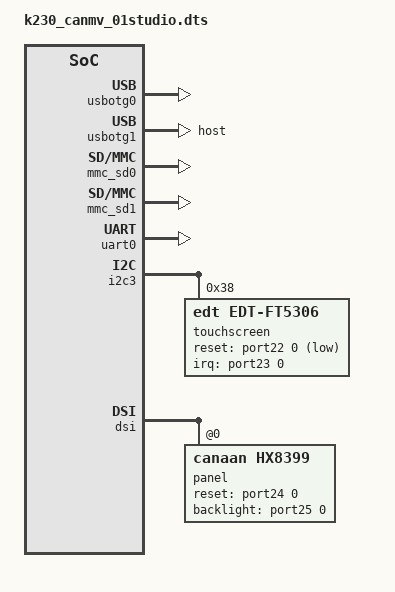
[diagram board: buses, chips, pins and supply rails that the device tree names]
/* Copyright (c) 2023, Canaan Bright Sight Co., Ltd
 *
 * This program is free software; you can redistribute it and/or modify
 * it under the terms of the GNU General Public License version 2 as
 * published by the Free Software Foundation.
*/
#include "k230.dtsi"
#include "clock_provider.dtsi"          /* k230 soc clock tree */
#include "clock_consumer.dtsi"          /* k230 soc clock consumer */
#include "reset_provider.dtsi"          /* k230 soc reset provider */
#include "reset_consumer.dtsi"          /* k230 soc reset consumer */
#include "power_provider.dtsi"          /* k230 soc power provider */
#include "power_consumer.dtsi"          /* k230 soc power consumer */
#include "gpio_provider.dtsi"           /* k230 soc gpio provider */
#include "gpio_consumer.dtsi"           /* k230 soc gpio consumer */


/ {
	aliases {
		serial0 = &uart0;
	};

	chosen {
		bootargs = "";
		linux,initrd-start = <0x0 0x32100000>;
		linux,initrd-end = <0x0 0x0>;
		stdout-path = "serial0:115200";
	};
};
&ddr {
	reg = <0x0 0x30200000 0x0 0xfe00000>;  /*linux memory config*/
};

&usbotg0 {
	status = "okay";
};

&usbotg1 {
	dr_mode = "host";
	status = "okay";
};

&mmc_sd0{
    status = "okay";
    no-1-8-v;
    cap-sd-highspeed;
    rx_delay_line = <0x0d>;
    tx_delay_line = <0xb0>;
};

&mmc_sd1{
    status = "okay";
    no-1-8-v;
    cap-sd-highspeed;
    mshc_ctrl_r = <0x00>;
};

&uart0 {
	status = "okay";
};

&gpio22 {
    status = "okay";
};

&gpio23 {
    status = "okay";
};

&gpio24 {
    status = "okay";
};

&gpio25 {
    status = "okay";
};

/* // conflict with HDMI */
&i2c3 {
	status = "okay";
	touchscreen@38 {
		compatible = "edt,edt-ft5306";
		reg = <0x38>;
		interrupt-parent = <&port23>;
		interrupts = <0 IRQ_TYPE_EDGE_FALLING>;
		reset-gpios = <&port22 0 GPIO_ACTIVE_LOW>;
	};
};

&dsi {
    status = "okay";

    panel@0 {
        compatible = "canaan,hx8399";
        reg = <0>;
        reset-gpios = <&port24 0 GPIO_ACTIVE_HIGH>;
        backlight-gpios = <&port25 0 GPIO_ACTIVE_HIGH>;

        display-timings {
            timing-0 {
                clock-frequency = <30000000>;
                hactive = <800>;
                vactive = <480>;
                hfront-porch = <40>;
                hback-porch = <40>;
                hsync-len = <48>;
                vfront-porch = <13>;
                vback-porch = <32>;
                vsync-len = <3>;
            };
        };
    };
};

&dsi {
	status = "okay";

	panel@0 {
		compatible = "canaan,hx8399";
		reg = <0>;
		panel-width-mm = <70>;
		panel-height-mm = <121>;

		display-timings {
			timing-0 {
				clock-frequency = <30000000>;
				hactive = <800>;
				vactive = <480>;
				hfront-porch = <40>;
				hback-porch = <40>;
				hsync-len = <48>;
				vfront-porch = <13>;
				vback-porch = <32>;
				vsync-len = <3>;
			};
		};
	};
};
